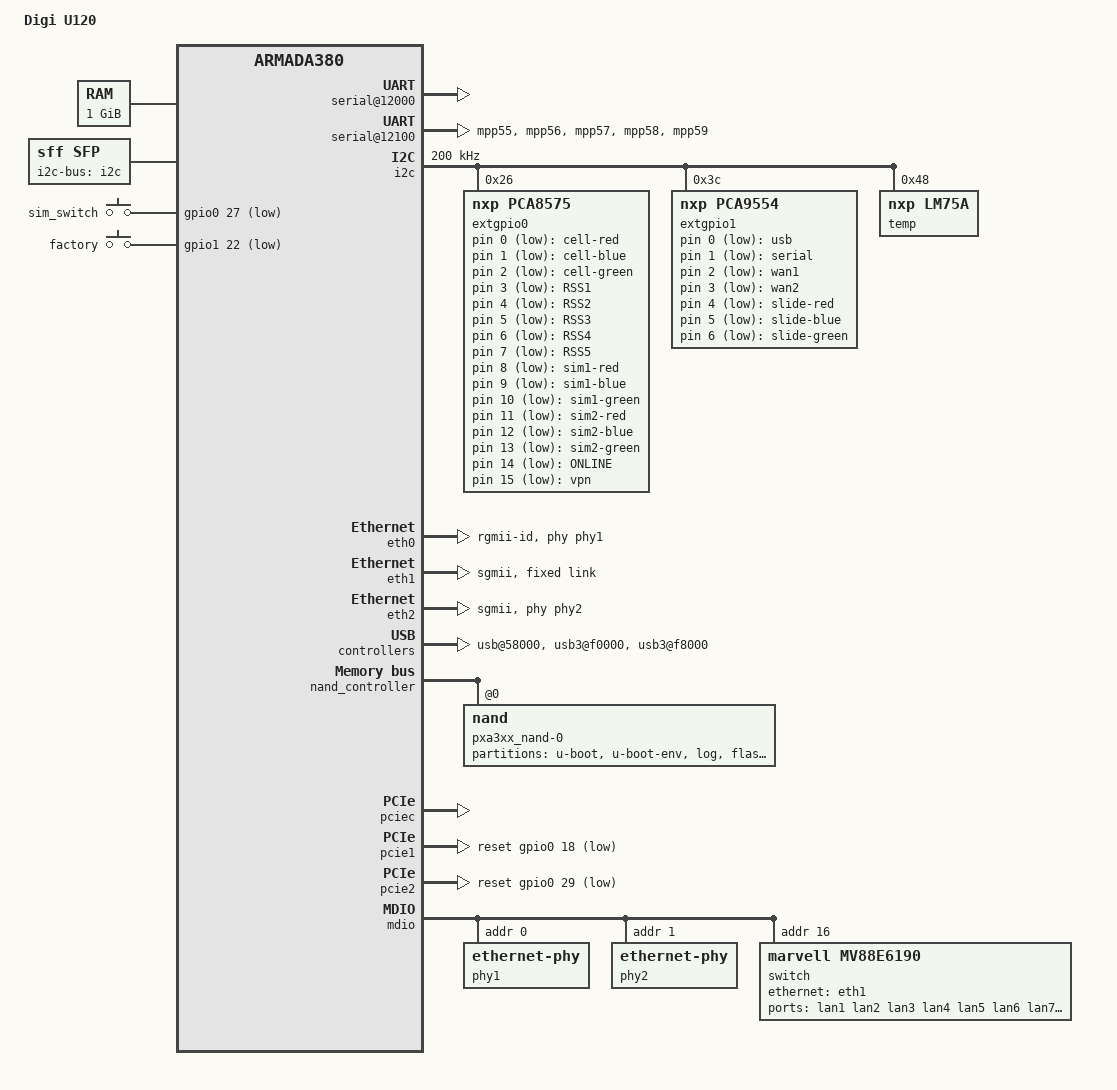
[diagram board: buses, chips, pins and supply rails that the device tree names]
/*
 * armada-380-u120.dts -- device tree for Gearlinx/U120
 *
 *  Copyright (C) 2014 Marvell
 *  Copyright (C) 2018 Gearlinx Pty Ltd
 *  Copyright (C) 2023 Digi
 *
 * This file is dual-licensed: you can use it either under the terms
 * of the GPL or the X11 license, at your option. Note that this dual
 * licensing only applies to this file, and not this project as a
 * whole.
 *
 *  a) This file is free software; you can redistribute it and/or
 *     modify it under the terms of the GNU General Public License as
 *     published by the Free Software Foundation; either version 2 of the
 *     License, or (at your option) any later version.
 *
 *     This file is distributed in the hope that it will be useful
 *     but WITHOUT ANY WARRANTY; without even the implied warranty of
 *     MERCHANTABILITY or FITNESS FOR A PARTICULAR PURPOSE.  See the
 *     GNU General Public License for more details.
 *
 * Or, alternatively
 *
 *  b) Permission is hereby granted, free of charge, to any person
 *     obtaining a copy of this software and associated documentation
 *     files (the "Software"), to deal in the Software without
 *     restriction, including without limitation the rights to use
 *     copy, modify, merge, publish, distribute, sublicense, and/or
 *     sell copies of the Software, and to permit persons to whom the
 *     Software is furnished to do so, subject to the following
 *     conditions:
 *
 *     The above copyright notice and this permission notice shall be
 *     included in all copies or substantial portions of the Software.
 *
 *     THE SOFTWARE IS PROVIDED , WITHOUT WARRANTY OF ANY KIND
 *     EXPRESS OR IMPLIED, INCLUDING BUT NOT LIMITED TO THE WARRANTIES
 *     OF MERCHANTABILITY, FITNESS FOR A PARTICULAR PURPOSE AND
 *     NONINFRINGEMENT. IN NO EVENT SHALL THE AUTHORS OR COPYRIGHT
 *     HOLDERS BE LIABLE FOR ANY CLAIM, DAMAGES OR OTHER LIABILITY
 *     WHETHER IN AN ACTION OF CONTRACT, TORT OR OTHERWISE, ARISING
 *     FROM, OUT OF OR IN CONNECTION WITH THE SOFTWARE OR THE USE OR
 *     OTHER DEALINGS IN THE SOFTWARE.
 */

/dts-v1/;
#include "armada-388.dtsi"
#include <dt-bindings/gpio/gpio.h>
#include <dt-bindings/input/input.h>

/ {
	model = "Digi U120";
	compatible = "digi,u120", "marvell,armada388",
		"marvell,armada385", "marvell,armada380";

	chosen {
		stdout-path = "serial0:115200n8";
	};

	memory {
		device_type = "memory";
		reg = <0x00000000 0x40000000>; /* 1GB */
	};

	soc {
		ranges = <MBUS_ID(0xf0, 0x01) 0 0xf1000000 0x100000
			  MBUS_ID(0x01, 0x1d) 0 0xfff00000 0x100000
			  MBUS_ID(0x09, 0x19) 0 0xf1100000 0x10000
			  MBUS_ID(0x09, 0x15) 0 0xf1110000 0x10000
			  MBUS_ID(0x0e, 0x0a) 0 0xf6000000 0x100000>;

		internal-regs {

			serial@12000 {
				status = "okay";
			};

			serial@12100 {
				status = "okay";
				pinctrl-0 = <&uart1_full_pins &uart1_dtr_pin>;
				pinctrl-names = "default";
				dtr-gpios = <&gpio1 27 GPIO_ACTIVE_LOW>;
				dcd-gpios = <&gpio1 18 GPIO_ACTIVE_LOW>;
			};

			gpio-leds {
				compatible = "gpio-leds";
				pinctrl-names = "default";

				cell-red {
					label = "cell-red";
					gpios = <&extgpio0 0 GPIO_ACTIVE_LOW>;
					default-state = "off";
				};

				cell-blue {
					label = "cell-blue";
					gpios = <&extgpio0 1 GPIO_ACTIVE_LOW>;
					default-state = "off";
				};

				cell-green {
					label = "cell-green";
					gpios = <&extgpio0 2 GPIO_ACTIVE_LOW>;
					default-state = "off";
				};

				rss1 {
					label = "RSS1";
					gpios = <&extgpio0 3 GPIO_ACTIVE_LOW>;
					default-state = "off";
				};

				rss2 {
					label = "RSS2";
					gpios = <&extgpio0 4 GPIO_ACTIVE_LOW>;
					default-state = "off";
				};

				rss3 {
					label = "RSS3";
					gpios = <&extgpio0 5 GPIO_ACTIVE_LOW>;
					default-state = "off";
				};

				rss4 {
					label = "RSS4";
					gpios = <&extgpio0 6 GPIO_ACTIVE_LOW>;
					default-state = "off";
				};

				rss5 {
					label = "RSS5";
					gpios = <&extgpio0 7 GPIO_ACTIVE_LOW>;
					default-state = "off";
				};

				sim1-red {
					label = "sim1-red";
					gpios = <&extgpio0 8 GPIO_ACTIVE_LOW>;
					default-state = "off";
				};

				sim1-blue {
					label = "sim1-blue";
					gpios = <&extgpio0 9 GPIO_ACTIVE_LOW>;
					default-state = "off";
				};

				sim1-green {
					label = "sim1-green";
					gpios = <&extgpio0 10 GPIO_ACTIVE_LOW>;
					default-state = "off";
				};

				sim2-red {
					label = "sim2-red";
					gpios = <&extgpio0 11 GPIO_ACTIVE_LOW>;
					default-state = "off";
				};

				sim2-blue {
					label = "sim2-blue";
					gpios = <&extgpio0 12 GPIO_ACTIVE_LOW>;
					default-state = "off";
				};

				sim2-green {
					label = "sim2-green";
					gpios = <&extgpio0 13 GPIO_ACTIVE_LOW>;
					default-state = "off";
				};

				online {
					label = "ONLINE";
					gpios = <&extgpio0 14 GPIO_ACTIVE_LOW>;
					default-state = "off";
				};

				vpn {
					label = "vpn";
					gpios = <&extgpio0 15 GPIO_ACTIVE_LOW>;
					default-state = "off";
				};

				usb {
					label = "usb";
					gpios = <&extgpio1 0 GPIO_ACTIVE_LOW>;
					default-state = "off";
				};

				serial {
					label = "serial";
					gpios = <&extgpio1 1 GPIO_ACTIVE_LOW>;
					default-state = "off";
				};

				wan1 {
					label = "wan1";
					gpios = <&extgpio1 2 GPIO_ACTIVE_LOW>;
					default-state = "off";
				};

				wan2 {
					label = "wan2";
					gpios = <&extgpio1 3 GPIO_ACTIVE_LOW>;
					default-state = "off";
				};

				slide-red {
					label = "slide-red";
					gpios = <&extgpio1 4 GPIO_ACTIVE_LOW>;
					default-state = "off";
				};

				slide-blue {
					label = "slide-blue";
					gpios = <&extgpio1 5 GPIO_ACTIVE_LOW>;
					default-state = "off";
				};

				slide-green {
					label = "slide-green";
					gpios = <&extgpio1 6 GPIO_ACTIVE_LOW>;
					default-state = "off";
				};
			};

			i2c:i2c@11000 {
				status = "okay";
				pinctrl-0 = <&i2c0_pins>;
				pinctrl-names = "default";
				clock-frequency = <200000>;

				extgpio0: pca8575@26 {
					compatible = "nxp,pca8575";
					reg = <0x26>;
					gpio-controller;
					#gpio-cells = <2>;
				};

				extgpio1: pca9554@3c {
					compatible = "nxp,pca9554";
					reg = <0x3c>;
					gpio-controller;
					#gpio-cells = <2>;
				};

				temp: lm75b@48 {
					compatible = "nxp,lm75a";
					reg = <0x48>;
				};
			};

			eth0: ethernet@70000 {
				status = "okay";
				phy = <&phy1>;
				phy-mode = "rgmii-id";
				pinctrl-0 = <&ge0_rgmii_pins>;
				pinctrl-names = "default";
			};

			eth1: ethernet@30000 {
				status = "okay";
				phy-mode = "sgmii";
				fixed-link {
					speed = <1000>;
					full-duplex;
				};
			};

			eth2: ethernet@34000 {
				status = "okay";
				phy = <&phy2>;
				phy-mode = "sgmii";
			};

			usb@58000 {
				status = "okay";
			};

			usb3@f0000 {
				status = "okay";
			};

			usb3@f8000 {
				status = "okay";
			};

		};

		efuse: efuse {
			compatible = "marvell,efuse";
			reg = <MBUS_ID(0x0e, 0x0a) 0 0x100000>;
		};
	};

	sfp: sfp {
		compatible = "sff,sfp";
		i2c-bus = <&i2c>;
		status = "ok";
	};

	gpio-keys {
		compatible = "gpio-keys";
		sim-button {
			label = "sim_switch";
			linux,code = <KEY_SELECT>;
			gpios = <&gpio0 27 GPIO_ACTIVE_LOW>;
		};

		factory-button {
			label = "factory";
			linux,code = <KEY_DELETE>;
			gpios = <&gpio1 22 GPIO_ACTIVE_LOW>;
		};
	};
};

&nand_controller {
	status = "okay";

	nand@0 {
		reg = <0>;
		label = "pxa3xx_nand-0";
		nand-rb = <0>;
		nand-on-flash-bbt;
		nand-ecc-strength = <4>;
		nand-ecc-step-size = <512>;

		partitions {
			compatible = "fixed-partitions";
			#address-cells = <1>;
			#size-cells = <1>;

			partition@0 {
				label = "u-boot";
				reg = <0x00000000 0x00200000>;
			};
			partition@1 {
				label = "u-boot-env";
				reg = <0x00200000 0x00100000>;
			};
			partition@2 {
				label = "log";
				reg = <0x00300000 0x00200000>;
			};
			partition@3 {
				label = "flash";
				reg = <0x00500000 0>;
				crypt;
			};
			partition@4 {
				label = "all";
				reg = <0x00000000 0>;
			};
		};
	};
};

&pinctrl {
	uart1_full_pins: uart1-full-pins {
		marvell,pins = "mpp55", "mpp56", "mpp57", "mpp58";
		marvell,function = "ua1";
	};

	uart1_dtr_pin: uart1-dtr-pin {
		marvell,pins = "mpp59";
		marvell,function = "gpio";
	};

	uart1_dcd_pin: uart1-dcd-pin {
		marvell,pins = "mpp50";
		marvell,function = "gpio";
	};
};

&pciec {
	status = "okay";
};

&pcie1 {
	/* Port 0, Lane 0 */
	reset-gpios = <&gpio0 18 GPIO_ACTIVE_LOW>;
	status = "okay";
};

&pcie2 {
	/* Port 1, Lane 0 */
	reset-gpios = <&gpio0 29 GPIO_ACTIVE_LOW>;
	status = "okay";
};

&gpio0 {
	gpio-line-names =
		"", "", "", "", "", "", "", "", "", "", "",
		"", "", "", "", "", "", "",
		"SLIDE_RESET",
		"", "",
		"SLIDE_PRESENT",
		"", "",
		"SLIDE_POWER",
		"",
		"CELL_POWER",
		"SIM_SWAP",
		"",
		"WIFI_RESET",
		"", "";
};

&gpio1 {
	gpio-line-names =
		"", "", "", "", "",
		"CELL_OFF",
		"",
		"CELL_RESET",
		"", "", "",
		"LED_FUNC",
		"",
		"USB_POWER",
		"USB_OC",
		"",
		"POE_LINK_P6",
		"POE_LINK_P6",
		"UART1_DCD",
		"",
		"POE_POWER_P6",
		"POE_POWER_P7",
		"ERASE",
		"", "", "", "", "";
};

&mdio {
	status = "okay";
	pinctrl-0 = <&mdio_pins>;
	pinctrl-names = "default";

	phy1: ethernet-phy@0 {
		status = "okay";
		reg = <0>;
		sfp = <&sfp>;
	};

	phy2: ethernet-phy@1 {
		status = "okay";
		reg = <1>;
	};

	switch@10 {
		compatible = "marvell,mv88e6190";
		#address-cells = <1>;
		#size-cells = <0>;
		reg = <0x10>;
		dsa,member = <0 0>;

		ports {
			#address-cells = <1>;
			#size-cells = <0>;

			port@1 {
				reg = <1>;
				label = "lan1";
			};
			port@2 {
				reg = <2>;
				label = "lan2";
			};
			port@3 {
				reg = <3>;
				label = "lan3";
			};
			port@4 {
				reg = <4>;
				label = "lan4";
			};
			port@5 {
				reg = <5>;
				label = "lan5";
			};
			port@6 {
				reg = <6>;
				label = "lan6";
			};
			port@7 {
				reg = <7>;
				label = "lan7";
			};
			port@8 {
				reg = <8>;
				label = "lan8";
			};
			port@9 {
				reg = <9>;
				label = "cpu";
				ethernet = <&eth1>;
				phy-mode = "sgmii";
				fixed-link {
					speed = <1000>;
					full-duplex;
				};
			};
		};
	};
};
